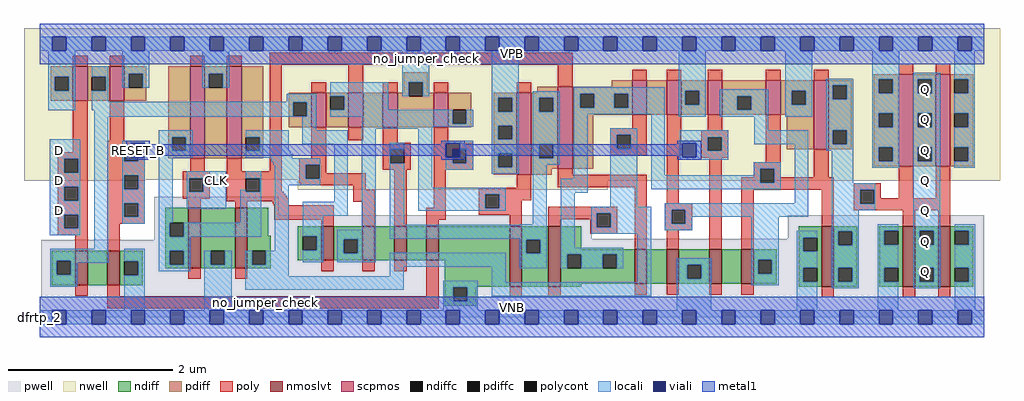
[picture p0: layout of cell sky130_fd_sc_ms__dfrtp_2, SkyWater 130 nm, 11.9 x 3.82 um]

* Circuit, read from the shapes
.subckt sky130_fd_sc_ms__dfrtp_2 CLK D RESET_B VGND VNB VPB VPWR Q
XM1 n1 D n2 VNB sky130_fd_pr__nfet_01v8_lvt w=0.42 l=0.15
XM2 VGND RESET_B n1 VNB sky130_fd_pr__nfet_01v8_lvt w=0.42 l=0.15
XM3 VGND CLK n3 VNB sky130_fd_pr__nfet_01v8_lvt w=0.74 l=0.15
XM4 n4 n3 VGND VNB sky130_fd_pr__nfet_01v8_lvt w=0.74 l=0.15
XM5 n5 n3 n2 VNB sky130_fd_pr__nfet_01v8_lvt w=0.42 l=0.15
XM6 n6 n4 n5 VNB sky130_fd_pr__nfet_01v8_lvt w=0.42 l=0.15
XM7 n7 n8 n6 VNB sky130_fd_pr__nfet_01v8_lvt w=0.42 l=0.15
XM8 VGND RESET_B n7 VNB sky130_fd_pr__nfet_01v8_lvt w=0.42 l=0.15
XM9 n8 n5 VGND VNB sky130_fd_pr__nfet_01v8_lvt w=0.74 l=0.15
XM10 n9 n4 n8 VNB sky130_fd_pr__nfet_01v8_lvt w=0.74 l=0.15
XM11 n10 n3 n9 VNB sky130_fd_pr__nfet_01v8_lvt w=0.42 l=0.15
XM12 VGND n11 n10 VNB sky130_fd_pr__nfet_01v8_lvt w=0.42 l=0.15
XM13 n12 RESET_B VGND VNB sky130_fd_pr__nfet_01v8_lvt w=0.42 l=0.15
XM14 n11 n9 n12 VNB sky130_fd_pr__nfet_01v8_lvt w=0.42 l=0.15
XM15 n13 n9 VGND VNB sky130_fd_pr__nfet_01v8_lvt w=0.74 l=0.15
XM16 Q n13 VGND VNB sky130_fd_pr__nfet_01v8_lvt w=0.74 l=0.15 m=2
XM17 n2 D VPWR VPB sky130_fd_pr__pfet_01v8 w=0.42 l=0.18
XM18 VPWR RESET_B n2 VPB sky130_fd_pr__pfet_01v8 w=0.42 l=0.18
XM19 VPWR CLK n3 VPB sky130_fd_pr__pfet_01v8 w=1.12 l=0.18
XM20 n4 n3 VPWR VPB sky130_fd_pr__pfet_01v8 w=1.12 l=0.18
XM21 n5 n4 n2 VPB sky130_fd_pr__pfet_01v8 w=0.42 l=0.18
XM22 n14 n3 n5 VPB sky130_fd_pr__pfet_01v8 w=0.42 l=0.18
XM23 VPWR n8 n14 VPB sky130_fd_pr__pfet_01v8 w=0.42 l=0.18
XM24 n5 RESET_B VPWR VPB sky130_fd_pr__pfet_01v8 w=0.42 l=0.18
XM25 n8 n5 VPWR VPB sky130_fd_pr__pfet_01v8 w=1 l=0.18
XM26 n9 n3 n8 VPB sky130_fd_pr__pfet_01v8 w=1 l=0.18
XM27 n15 n4 n9 VPB sky130_fd_pr__pfet_01v8 w=0.42 l=0.18
XM28 VPWR n11 n15 VPB sky130_fd_pr__pfet_01v8 w=0.42 l=0.18
XM29 n11 RESET_B VPWR VPB sky130_fd_pr__pfet_01v8 w=0.42 l=0.18
XM30 VPWR n9 n11 VPB sky130_fd_pr__pfet_01v8 w=0.42 l=0.18
XM31 n13 n9 VPWR VPB sky130_fd_pr__pfet_01v8 w=0.84 l=0.18
XM32 Q n13 VPWR VPB sky130_fd_pr__pfet_01v8 w=1.12 l=0.18 m=2
.ends

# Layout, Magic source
magic
tech sky130A
magscale 1 2
<< nwell >>
rect -38 335 2342 704
rect -38 332 258 335
rect 629 332 2342 335
rect 629 311 1386 332
<< pwell >>
rect 280 248 583 293
rect 280 191 1347 248
rect 1825 191 2303 248
rect 280 188 2303 191
rect 4 49 2303 188
rect 0 0 2304 49
<< scpmos >>
rect 81 527 117 611
rect 171 527 207 611
rect 367 387 403 611
rect 457 387 493 611
rect 663 463 699 547
rect 753 463 789 547
rect 837 463 873 547
rect 961 463 997 547
rect 1163 347 1199 547
rect 1264 362 1300 562
rect 1445 493 1481 577
rect 1529 493 1565 577
rect 1629 493 1665 577
rect 1771 493 1807 577
rect 1888 409 1924 577
rect 2095 368 2131 592
rect 2185 368 2221 592
<< nmoslvt >>
rect 87 78 117 162
rect 165 78 195 162
rect 363 119 393 267
rect 477 119 507 267
rect 687 138 717 222
rect 787 138 817 222
rect 865 138 895 222
rect 943 138 973 222
rect 1146 74 1176 222
rect 1241 74 1271 222
rect 1451 81 1481 165
rect 1529 81 1559 165
rect 1633 81 1663 165
rect 1711 81 1741 165
rect 1907 74 1937 222
rect 2105 74 2135 222
rect 2191 74 2221 222
<< ndiff >>
rect 306 230 363 267
rect 306 196 318 230
rect 352 196 363 230
rect 306 162 363 196
rect 30 137 87 162
rect 30 103 42 137
rect 76 103 87 137
rect 30 78 87 103
rect 117 78 165 162
rect 195 136 252 162
rect 195 102 206 136
rect 240 102 252 136
rect 306 128 318 162
rect 352 128 363 162
rect 306 119 363 128
rect 393 162 477 267
rect 393 128 418 162
rect 452 128 477 162
rect 393 119 477 128
rect 507 198 557 267
rect 507 162 564 198
rect 507 128 518 162
rect 552 128 564 162
rect 630 197 687 222
rect 630 163 642 197
rect 676 163 687 197
rect 630 138 687 163
rect 717 190 787 222
rect 717 156 742 190
rect 776 156 787 190
rect 717 138 787 156
rect 817 138 865 222
rect 895 138 943 222
rect 973 138 1146 222
rect 507 119 564 128
rect 195 78 252 102
rect 988 74 1146 138
rect 1176 189 1241 222
rect 1176 155 1187 189
rect 1221 155 1241 189
rect 1176 74 1241 155
rect 1271 165 1321 222
rect 1851 194 1907 222
rect 1271 153 1451 165
rect 1271 119 1287 153
rect 1321 119 1373 153
rect 1407 119 1451 153
rect 1271 81 1451 119
rect 1481 81 1529 165
rect 1559 127 1633 165
rect 1559 93 1579 127
rect 1613 93 1633 127
rect 1559 81 1633 93
rect 1663 81 1711 165
rect 1741 140 1797 165
rect 1741 106 1752 140
rect 1786 106 1797 140
rect 1741 81 1797 106
rect 1851 160 1862 194
rect 1896 160 1907 194
rect 1851 120 1907 160
rect 1851 86 1862 120
rect 1896 86 1907 120
rect 1271 74 1321 81
rect 988 73 1065 74
rect 988 39 1009 73
rect 1043 39 1065 73
rect 1851 74 1907 86
rect 1937 209 1994 222
rect 1937 175 1948 209
rect 1982 175 1994 209
rect 1937 120 1994 175
rect 1937 86 1948 120
rect 1982 86 1994 120
rect 1937 74 1994 86
rect 2048 210 2105 222
rect 2048 176 2060 210
rect 2094 176 2105 210
rect 2048 120 2105 176
rect 2048 86 2060 120
rect 2094 86 2105 120
rect 2048 74 2105 86
rect 2135 210 2191 222
rect 2135 176 2146 210
rect 2180 176 2191 210
rect 2135 120 2191 176
rect 2135 86 2146 120
rect 2180 86 2191 120
rect 2135 74 2191 86
rect 2221 210 2277 222
rect 2221 176 2232 210
rect 2266 176 2277 210
rect 2221 120 2277 176
rect 2221 86 2232 120
rect 2266 86 2277 120
rect 2221 74 2277 86
rect 988 27 1065 39
<< pdiff >>
rect 27 586 81 611
rect 27 552 37 586
rect 71 552 81 586
rect 27 527 81 552
rect 117 586 171 611
rect 117 552 127 586
rect 161 552 171 586
rect 117 527 171 552
rect 207 593 260 611
rect 207 559 217 593
rect 251 559 260 593
rect 207 527 260 559
rect 314 439 367 611
rect 314 405 323 439
rect 357 405 367 439
rect 314 387 367 405
rect 403 593 457 611
rect 403 559 413 593
rect 447 559 457 593
rect 403 387 457 559
rect 493 439 546 611
rect 493 405 503 439
rect 537 405 546 439
rect 493 387 546 405
rect 888 573 946 597
rect 888 547 900 573
rect 608 524 663 547
rect 608 490 618 524
rect 652 490 663 524
rect 608 463 663 490
rect 699 539 753 547
rect 699 505 709 539
rect 743 505 753 539
rect 699 463 753 505
rect 789 463 837 547
rect 873 539 900 547
rect 934 547 946 573
rect 2034 580 2095 592
rect 1395 562 1445 577
rect 1214 547 1264 562
rect 934 539 961 547
rect 873 463 961 539
rect 997 505 1053 547
rect 997 471 1007 505
rect 1041 471 1053 505
rect 997 463 1053 471
rect 1107 535 1163 547
rect 1107 501 1119 535
rect 1153 501 1163 535
rect 1107 467 1163 501
rect 1107 433 1119 467
rect 1153 433 1163 467
rect 1107 399 1163 433
rect 1107 365 1119 399
rect 1153 365 1163 399
rect 1107 347 1163 365
rect 1199 535 1264 547
rect 1199 501 1219 535
rect 1253 501 1264 535
rect 1199 421 1264 501
rect 1199 387 1219 421
rect 1253 387 1264 421
rect 1199 362 1264 387
rect 1300 545 1445 562
rect 1300 511 1319 545
rect 1353 511 1401 545
rect 1435 511 1445 545
rect 1300 493 1445 511
rect 1481 493 1529 577
rect 1565 552 1629 577
rect 1565 518 1575 552
rect 1609 518 1629 552
rect 1565 493 1629 518
rect 1665 539 1771 577
rect 1665 505 1701 539
rect 1735 505 1771 539
rect 1665 493 1771 505
rect 1807 552 1888 577
rect 1807 518 1834 552
rect 1868 518 1888 552
rect 1807 493 1888 518
rect 1300 362 1350 493
rect 1199 347 1249 362
rect 1822 409 1888 493
rect 1924 565 1980 577
rect 1924 531 1934 565
rect 1968 531 1980 565
rect 1924 456 1980 531
rect 1924 422 1934 456
rect 1968 422 1980 456
rect 1924 409 1980 422
rect 2034 546 2046 580
rect 2080 546 2095 580
rect 2034 497 2095 546
rect 2034 463 2046 497
rect 2080 463 2095 497
rect 2034 414 2095 463
rect 2034 380 2046 414
rect 2080 380 2095 414
rect 2034 368 2095 380
rect 2131 580 2185 592
rect 2131 546 2141 580
rect 2175 546 2185 580
rect 2131 497 2185 546
rect 2131 463 2141 497
rect 2175 463 2185 497
rect 2131 414 2185 463
rect 2131 380 2141 414
rect 2175 380 2185 414
rect 2131 368 2185 380
rect 2221 580 2277 592
rect 2221 546 2231 580
rect 2265 546 2277 580
rect 2221 497 2277 546
rect 2221 463 2231 497
rect 2265 463 2277 497
rect 2221 414 2277 463
rect 2221 380 2231 414
rect 2265 380 2277 414
rect 2221 368 2277 380
<< ndiffc >>
rect 318 196 352 230
rect 42 103 76 137
rect 206 102 240 136
rect 318 128 352 162
rect 418 128 452 162
rect 518 128 552 162
rect 642 163 676 197
rect 742 156 776 190
rect 1187 155 1221 189
rect 1287 119 1321 153
rect 1373 119 1407 153
rect 1579 93 1613 127
rect 1752 106 1786 140
rect 1862 160 1896 194
rect 1862 86 1896 120
rect 1009 39 1043 73
rect 1948 175 1982 209
rect 1948 86 1982 120
rect 2060 176 2094 210
rect 2060 86 2094 120
rect 2146 176 2180 210
rect 2146 86 2180 120
rect 2232 176 2266 210
rect 2232 86 2266 120
<< pdiffc >>
rect 37 552 71 586
rect 127 552 161 586
rect 217 559 251 593
rect 323 405 357 439
rect 413 559 447 593
rect 503 405 537 439
rect 618 490 652 524
rect 709 505 743 539
rect 900 539 934 573
rect 1007 471 1041 505
rect 1119 501 1153 535
rect 1119 433 1153 467
rect 1119 365 1153 399
rect 1219 501 1253 535
rect 1219 387 1253 421
rect 1319 511 1353 545
rect 1401 511 1435 545
rect 1575 518 1609 552
rect 1701 505 1735 539
rect 1834 518 1868 552
rect 1934 531 1968 565
rect 1934 422 1968 456
rect 2046 546 2080 580
rect 2046 463 2080 497
rect 2046 380 2080 414
rect 2141 546 2175 580
rect 2141 463 2175 497
rect 2141 380 2175 414
rect 2231 546 2265 580
rect 2231 463 2265 497
rect 2231 380 2265 414
<< poly >>
rect 81 611 117 637
rect 171 611 207 637
rect 367 611 403 637
rect 457 611 493 637
rect 561 615 1300 645
rect 81 402 117 527
rect 171 430 207 527
rect 44 386 117 402
rect 44 352 60 386
rect 94 352 117 386
rect 44 318 117 352
rect 44 284 60 318
rect 94 284 117 318
rect 44 250 117 284
rect 44 216 60 250
rect 94 216 117 250
rect 44 200 117 216
rect 87 162 117 200
rect 165 414 257 430
rect 165 380 207 414
rect 241 380 257 414
rect 165 346 257 380
rect 367 355 403 387
rect 457 355 493 387
rect 561 355 591 615
rect 663 547 699 573
rect 753 547 789 615
rect 837 547 873 573
rect 961 547 997 573
rect 1163 547 1199 573
rect 1264 562 1300 615
rect 1445 577 1481 603
rect 1529 577 1565 603
rect 1629 577 1665 603
rect 1771 577 1807 603
rect 1888 577 1924 603
rect 2095 592 2131 618
rect 2185 592 2221 618
rect 663 387 699 463
rect 753 431 789 463
rect 165 312 207 346
rect 241 312 257 346
rect 165 278 257 312
rect 349 339 415 355
rect 349 305 365 339
rect 399 305 415 339
rect 349 289 415 305
rect 457 339 591 355
rect 457 305 503 339
rect 537 306 591 339
rect 633 371 699 387
rect 633 337 649 371
rect 683 351 699 371
rect 837 425 873 463
rect 961 425 997 463
rect 837 409 905 425
rect 837 375 855 409
rect 889 375 905 409
rect 837 359 905 375
rect 961 409 1057 425
rect 961 375 1007 409
rect 1041 375 1057 409
rect 961 359 1057 375
rect 683 337 795 351
rect 633 326 795 337
rect 637 321 795 326
rect 765 311 795 321
rect 537 305 596 306
rect 457 301 596 305
rect 457 296 599 301
rect 457 290 603 296
rect 165 244 207 278
rect 241 244 257 278
rect 363 267 393 289
rect 457 282 608 290
rect 477 267 507 282
rect 568 278 608 282
rect 765 281 817 311
rect 570 275 608 278
rect 571 273 608 275
rect 165 228 257 244
rect 165 162 195 228
rect 572 237 717 273
rect 687 222 717 237
rect 787 222 817 281
rect 865 222 895 359
rect 961 267 991 359
rect 1445 461 1481 493
rect 1391 445 1481 461
rect 1391 411 1407 445
rect 1441 411 1481 445
rect 1391 395 1481 411
rect 1529 395 1565 493
rect 1629 455 1665 493
rect 1613 439 1679 455
rect 1613 405 1629 439
rect 1663 405 1679 439
rect 1264 347 1300 362
rect 1163 315 1199 347
rect 1264 317 1481 347
rect 943 237 991 267
rect 1071 299 1199 315
rect 1071 265 1087 299
rect 1121 285 1199 299
rect 1121 265 1176 285
rect 1071 249 1176 265
rect 943 222 973 237
rect 1146 222 1176 249
rect 1241 253 1409 269
rect 1241 239 1359 253
rect 1241 222 1271 239
rect 363 93 393 119
rect 477 93 507 119
rect 687 112 717 138
rect 787 112 817 138
rect 865 112 895 138
rect 87 52 117 78
rect 165 51 195 78
rect 943 51 973 138
rect 165 21 973 51
rect 1343 219 1359 239
rect 1393 219 1409 253
rect 1343 203 1409 219
rect 1451 165 1481 317
rect 1529 278 1559 395
rect 1613 389 1679 405
rect 1525 262 1591 278
rect 1525 228 1541 262
rect 1575 228 1591 262
rect 1525 212 1591 228
rect 1529 165 1559 212
rect 1633 165 1663 389
rect 1771 378 1807 493
rect 1741 362 1807 378
rect 1741 341 1757 362
rect 1711 328 1757 341
rect 1791 341 1807 362
rect 1888 341 1924 409
rect 1791 328 1937 341
rect 1711 311 1937 328
rect 1711 165 1741 311
rect 1907 222 1937 311
rect 1985 310 2051 326
rect 1985 276 2001 310
rect 2035 290 2051 310
rect 2095 290 2131 368
rect 2185 290 2221 368
rect 2035 276 2221 290
rect 1985 260 2221 276
rect 2105 222 2135 260
rect 2191 222 2221 260
rect 1146 48 1176 74
rect 1241 48 1271 74
rect 1451 55 1481 81
rect 1529 55 1559 81
rect 1633 55 1663 81
rect 1711 55 1741 81
rect 1907 48 1937 74
rect 2105 48 2135 74
rect 2191 48 2221 74
<< polycont >>
rect 60 352 94 386
rect 60 284 94 318
rect 60 216 94 250
rect 207 380 241 414
rect 207 312 241 346
rect 365 305 399 339
rect 503 305 537 339
rect 649 337 683 371
rect 855 375 889 409
rect 1007 375 1041 409
rect 207 244 241 278
rect 1407 411 1441 445
rect 1629 405 1663 439
rect 1087 265 1121 299
rect 1359 219 1393 253
rect 1541 228 1575 262
rect 1757 328 1791 362
rect 2001 276 2035 310
<< locali >>
rect 0 649 31 683
rect 65 649 127 683
rect 161 649 223 683
rect 257 649 319 683
rect 353 649 415 683
rect 449 649 511 683
rect 545 649 607 683
rect 641 649 703 683
rect 737 649 799 683
rect 833 649 895 683
rect 929 649 991 683
rect 1025 649 1087 683
rect 1121 649 1183 683
rect 1217 649 1279 683
rect 1313 649 1375 683
rect 1409 649 1471 683
rect 1505 649 1567 683
rect 1601 649 1663 683
rect 1697 649 1759 683
rect 1793 649 1855 683
rect 1889 649 1951 683
rect 1985 649 2047 683
rect 2081 649 2143 683
rect 2177 649 2239 683
rect 2273 649 2304 683
rect 21 586 87 649
rect 21 552 37 586
rect 71 552 87 586
rect 21 504 87 552
rect 127 586 167 611
rect 161 552 167 586
rect 201 593 267 649
rect 201 559 217 593
rect 251 559 267 593
rect 397 593 463 649
rect 397 559 413 593
rect 447 559 463 593
rect 884 573 950 649
rect 127 525 167 552
rect 603 525 675 545
rect 127 524 675 525
rect 127 504 618 524
rect 133 490 618 504
rect 652 490 675 524
rect 133 489 675 490
rect 709 539 850 572
rect 884 539 900 573
rect 934 539 950 573
rect 743 505 850 539
rect 1103 535 1169 649
rect 709 489 1007 505
rect 25 386 99 434
rect 25 352 60 386
rect 94 352 99 386
rect 25 318 99 352
rect 25 284 60 318
rect 94 284 99 318
rect 25 250 99 284
rect 25 216 60 250
rect 94 216 99 250
rect 25 200 99 216
rect 133 166 167 489
rect 641 455 675 489
rect 786 471 1007 489
rect 1041 471 1057 505
rect 786 464 1057 471
rect 1103 501 1119 535
rect 1153 501 1169 535
rect 1103 467 1169 501
rect 786 459 957 464
rect 291 439 373 455
rect 201 424 257 430
rect 201 414 223 424
rect 201 380 207 414
rect 241 380 257 390
rect 201 346 257 380
rect 201 312 207 346
rect 241 312 257 346
rect 201 278 257 312
rect 201 244 207 278
rect 241 244 257 278
rect 201 228 257 244
rect 291 405 323 439
rect 357 405 373 439
rect 291 389 373 405
rect 503 439 607 455
rect 537 405 607 439
rect 641 421 752 455
rect 503 397 611 405
rect 503 389 616 397
rect 291 230 325 389
rect 565 387 616 389
rect 565 379 684 387
rect 570 371 684 379
rect 409 355 455 356
rect 359 339 455 355
rect 359 305 365 339
rect 399 305 455 339
rect 503 339 540 355
rect 359 264 455 305
rect 489 305 503 310
rect 537 305 540 339
rect 489 230 540 305
rect 291 196 318 230
rect 352 196 540 230
rect 574 337 649 371
rect 683 337 684 371
rect 574 321 684 337
rect 26 137 167 166
rect 26 103 42 137
rect 76 132 167 137
rect 206 136 256 166
rect 76 103 92 132
rect 26 74 92 103
rect 240 102 256 136
rect 291 162 368 196
rect 574 162 608 321
rect 718 281 752 421
rect 291 128 318 162
rect 352 128 368 162
rect 291 112 368 128
rect 402 128 418 162
rect 452 128 468 162
rect 206 17 256 102
rect 402 17 468 128
rect 502 128 518 162
rect 552 128 608 162
rect 642 247 752 281
rect 642 197 692 247
rect 786 213 820 459
rect 676 163 692 197
rect 642 134 692 163
rect 726 190 820 213
rect 854 409 889 425
rect 854 375 855 409
rect 854 225 889 375
rect 923 315 957 459
rect 1103 433 1119 467
rect 1153 433 1169 467
rect 991 424 1057 430
rect 1025 409 1057 424
rect 991 375 1007 390
rect 1041 375 1057 409
rect 991 359 1057 375
rect 1103 399 1169 433
rect 1103 365 1119 399
rect 1153 365 1169 399
rect 1103 349 1169 365
rect 1203 535 1269 551
rect 1203 501 1219 535
rect 1253 501 1269 535
rect 1203 421 1269 501
rect 1203 387 1219 421
rect 1253 387 1269 421
rect 1203 371 1269 387
rect 1303 545 1525 561
rect 1303 511 1319 545
rect 1353 511 1401 545
rect 1435 511 1525 545
rect 1303 495 1525 511
rect 923 299 1137 315
rect 923 265 1087 299
rect 1121 265 1137 299
rect 923 259 1137 265
rect 1203 226 1237 371
rect 1303 337 1337 495
rect 1171 225 1237 226
rect 854 191 1237 225
rect 726 156 742 190
rect 776 156 820 190
rect 1171 189 1237 191
rect 726 134 820 156
rect 502 100 608 128
rect 854 123 1137 157
rect 854 100 888 123
rect 502 66 888 100
rect 984 73 1069 89
rect 984 39 1009 73
rect 1043 39 1069 73
rect 1103 85 1137 123
rect 1171 155 1187 189
rect 1221 155 1237 189
rect 1171 119 1237 155
rect 1271 303 1337 337
rect 1391 445 1457 461
rect 1391 411 1407 445
rect 1441 411 1457 445
rect 1271 169 1305 303
rect 1391 269 1457 411
rect 1491 346 1525 495
rect 1559 552 1625 649
rect 1559 518 1575 552
rect 1609 518 1625 552
rect 1559 489 1625 518
rect 1659 539 1777 555
rect 1659 505 1701 539
rect 1735 505 1777 539
rect 1659 489 1777 505
rect 1818 552 1884 649
rect 1818 518 1834 552
rect 1868 518 1884 552
rect 1818 489 1884 518
rect 1918 565 1984 581
rect 1918 531 1934 565
rect 1968 531 1984 565
rect 1743 455 1777 489
rect 1918 456 1984 531
rect 1561 439 1679 455
rect 1561 424 1629 439
rect 1561 390 1567 424
rect 1601 405 1629 424
rect 1663 405 1679 439
rect 1743 421 1875 455
rect 1601 390 1679 405
rect 1561 384 1679 390
rect 1741 362 1807 378
rect 1741 346 1757 362
rect 1491 328 1757 346
rect 1791 328 1807 362
rect 1491 312 1807 328
rect 1841 278 1875 421
rect 1918 422 1934 456
rect 1968 422 1984 456
rect 1918 406 1984 422
rect 1345 253 1491 269
rect 1345 219 1359 253
rect 1393 219 1491 253
rect 1345 203 1491 219
rect 1525 262 1875 278
rect 1525 228 1541 262
rect 1575 244 1875 262
rect 1932 326 1984 406
rect 2030 580 2096 649
rect 2030 546 2046 580
rect 2080 546 2096 580
rect 2030 497 2096 546
rect 2030 463 2046 497
rect 2080 463 2096 497
rect 2030 414 2096 463
rect 2030 380 2046 414
rect 2080 380 2096 414
rect 2030 364 2096 380
rect 2130 580 2196 596
rect 2130 546 2141 580
rect 2175 546 2196 580
rect 2130 497 2196 546
rect 2130 463 2141 497
rect 2175 463 2196 497
rect 2130 414 2196 463
rect 2130 380 2141 414
rect 2175 380 2196 414
rect 1932 310 2038 326
rect 1932 276 2001 310
rect 2035 276 2038 310
rect 1932 260 2038 276
rect 1575 228 1591 244
rect 1525 212 1591 228
rect 1271 153 1423 169
rect 1271 119 1287 153
rect 1321 119 1373 153
rect 1407 119 1423 153
rect 1457 85 1491 203
rect 1103 51 1491 85
rect 1554 127 1638 143
rect 1554 93 1579 127
rect 1613 93 1638 127
rect 984 17 1069 39
rect 1554 17 1638 93
rect 1736 140 1802 244
rect 1736 106 1752 140
rect 1786 106 1802 140
rect 1736 77 1802 106
rect 1846 194 1896 210
rect 1846 160 1862 194
rect 1846 120 1896 160
rect 1846 86 1862 120
rect 1846 17 1896 86
rect 1932 209 1998 260
rect 1932 175 1948 209
rect 1982 175 1998 209
rect 1932 120 1998 175
rect 1932 86 1948 120
rect 1982 86 1998 120
rect 1932 70 1998 86
rect 2044 210 2094 226
rect 2044 176 2060 210
rect 2044 120 2094 176
rect 2044 86 2060 120
rect 2044 17 2094 86
rect 2130 210 2196 380
rect 2231 580 2281 649
rect 2265 546 2281 580
rect 2231 497 2281 546
rect 2265 463 2281 497
rect 2231 414 2281 463
rect 2265 380 2281 414
rect 2231 364 2281 380
rect 2130 176 2146 210
rect 2180 176 2196 210
rect 2130 120 2196 176
rect 2130 86 2146 120
rect 2180 86 2196 120
rect 2130 70 2196 86
rect 2232 210 2282 226
rect 2266 176 2282 210
rect 2232 120 2282 176
rect 2266 86 2282 120
rect 2232 17 2282 86
rect 0 -17 31 17
rect 65 -17 127 17
rect 161 -17 223 17
rect 257 -17 319 17
rect 353 -17 415 17
rect 449 -17 511 17
rect 545 -17 607 17
rect 641 -17 703 17
rect 737 -17 799 17
rect 833 -17 895 17
rect 929 -17 991 17
rect 1025 -17 1087 17
rect 1121 -17 1183 17
rect 1217 -17 1279 17
rect 1313 -17 1375 17
rect 1409 -17 1471 17
rect 1505 -17 1567 17
rect 1601 -17 1663 17
rect 1697 -17 1759 17
rect 1793 -17 1855 17
rect 1889 -17 1951 17
rect 1985 -17 2047 17
rect 2081 -17 2143 17
rect 2177 -17 2239 17
rect 2273 -17 2304 17
<< viali >>
rect 31 649 65 683
rect 127 649 161 683
rect 223 649 257 683
rect 319 649 353 683
rect 415 649 449 683
rect 511 649 545 683
rect 607 649 641 683
rect 703 649 737 683
rect 799 649 833 683
rect 895 649 929 683
rect 991 649 1025 683
rect 1087 649 1121 683
rect 1183 649 1217 683
rect 1279 649 1313 683
rect 1375 649 1409 683
rect 1471 649 1505 683
rect 1567 649 1601 683
rect 1663 649 1697 683
rect 1759 649 1793 683
rect 1855 649 1889 683
rect 1951 649 1985 683
rect 2047 649 2081 683
rect 2143 649 2177 683
rect 2239 649 2273 683
rect 223 414 257 424
rect 223 390 241 414
rect 241 390 257 414
rect 991 409 1025 424
rect 991 390 1007 409
rect 1007 390 1025 409
rect 1567 390 1601 424
rect 31 -17 65 17
rect 127 -17 161 17
rect 223 -17 257 17
rect 319 -17 353 17
rect 415 -17 449 17
rect 511 -17 545 17
rect 607 -17 641 17
rect 703 -17 737 17
rect 799 -17 833 17
rect 895 -17 929 17
rect 991 -17 1025 17
rect 1087 -17 1121 17
rect 1183 -17 1217 17
rect 1279 -17 1313 17
rect 1375 -17 1409 17
rect 1471 -17 1505 17
rect 1567 -17 1601 17
rect 1663 -17 1697 17
rect 1759 -17 1793 17
rect 1855 -17 1889 17
rect 1951 -17 1985 17
rect 2047 -17 2081 17
rect 2143 -17 2177 17
rect 2239 -17 2273 17
<< metal1 >>
rect 0 683 2304 715
rect 0 649 31 683
rect 65 649 127 683
rect 161 649 223 683
rect 257 649 319 683
rect 353 649 415 683
rect 449 649 511 683
rect 545 649 607 683
rect 641 649 703 683
rect 737 649 799 683
rect 833 649 895 683
rect 929 649 991 683
rect 1025 649 1087 683
rect 1121 649 1183 683
rect 1217 649 1279 683
rect 1313 649 1375 683
rect 1409 649 1471 683
rect 1505 649 1567 683
rect 1601 649 1663 683
rect 1697 649 1759 683
rect 1793 649 1855 683
rect 1889 649 1951 683
rect 1985 649 2047 683
rect 2081 649 2143 683
rect 2177 649 2239 683
rect 2273 649 2304 683
rect 0 617 2304 649
rect 211 424 269 430
rect 211 390 223 424
rect 257 421 269 424
rect 979 424 1037 430
rect 979 421 991 424
rect 257 393 991 421
rect 257 390 269 393
rect 211 384 269 390
rect 979 390 991 393
rect 1025 421 1037 424
rect 1555 424 1613 430
rect 1555 421 1567 424
rect 1025 393 1567 421
rect 1025 390 1037 393
rect 979 384 1037 390
rect 1555 390 1567 393
rect 1601 390 1613 424
rect 1555 384 1613 390
rect 0 17 2304 49
rect 0 -17 31 17
rect 65 -17 127 17
rect 161 -17 223 17
rect 257 -17 319 17
rect 353 -17 415 17
rect 449 -17 511 17
rect 545 -17 607 17
rect 641 -17 703 17
rect 737 -17 799 17
rect 833 -17 895 17
rect 929 -17 991 17
rect 1025 -17 1087 17
rect 1121 -17 1183 17
rect 1217 -17 1279 17
rect 1313 -17 1375 17
rect 1409 -17 1471 17
rect 1505 -17 1567 17
rect 1601 -17 1663 17
rect 1697 -17 1759 17
rect 1793 -17 1855 17
rect 1889 -17 1951 17
rect 1985 -17 2047 17
rect 2081 -17 2143 17
rect 2177 -17 2239 17
rect 2273 -17 2304 17
rect 0 -49 2304 -17
<< labels >>
flabel pwell s 0 0 2304 49 0 FreeSans 200 0 0 0 VNB
port 5 nsew ground bidirectional
flabel nwell s 0 617 2304 666 0 FreeSans 200 0 0 0 VPB
port 6 nsew power bidirectional
rlabel comment s 0 0 0 0 4 dfrtp_2
flabel comment s 943 630 943 630 0 FreeSans 300 0 0 0 no_jumper_check
flabel comment s 552 36 552 36 0 FreeSans 300 0 0 0 no_jumper_check
flabel metal1 s 223 390 257 424 0 FreeSans 340 0 0 0 RESET_B
port 3 nsew signal input
flabel metal1 s 0 617 2304 666 0 FreeSans 340 0 0 0 VPWR
port 7 nsew power bidirectional
flabel metal1 s 0 0 2304 49 0 FreeSans 340 0 0 0 VGND
port 4 nsew ground bidirectional
flabel locali s 31 242 65 276 0 FreeSans 340 0 0 0 D
port 2 nsew signal input
flabel locali s 31 316 65 350 0 FreeSans 340 0 0 0 D
port 2 nsew signal input
flabel locali s 31 390 65 424 0 FreeSans 340 0 0 0 D
port 2 nsew signal input
flabel locali s 415 316 449 350 0 FreeSans 340 0 0 0 CLK
port 1 nsew clock input
flabel locali s 2143 94 2177 128 0 FreeSans 340 0 0 0 Q
port 8 nsew signal output
flabel locali s 2143 168 2177 202 0 FreeSans 340 0 0 0 Q
port 8 nsew signal output
flabel locali s 2143 242 2177 276 0 FreeSans 340 0 0 0 Q
port 8 nsew signal output
flabel locali s 2143 316 2177 350 0 FreeSans 340 0 0 0 Q
port 8 nsew signal output
flabel locali s 2143 390 2177 424 0 FreeSans 340 0 0 0 Q
port 8 nsew signal output
flabel locali s 2143 464 2177 498 0 FreeSans 340 0 0 0 Q
port 8 nsew signal output
flabel locali s 2143 538 2177 572 0 FreeSans 340 0 0 0 Q
port 8 nsew signal output
<< properties >>
string LEFsite unit
string LEFclass CORE
string FIXED_BBOX 0 0 2304 666
string GDS_FILE $PDKPATH/libs.ref/sky130_fd_sc_ms/gds/sky130_fd_sc_ms.gds
string LEFsymmetry X Y R90
string GDS_END 451328
string GDS_START 433658
<< end >>
